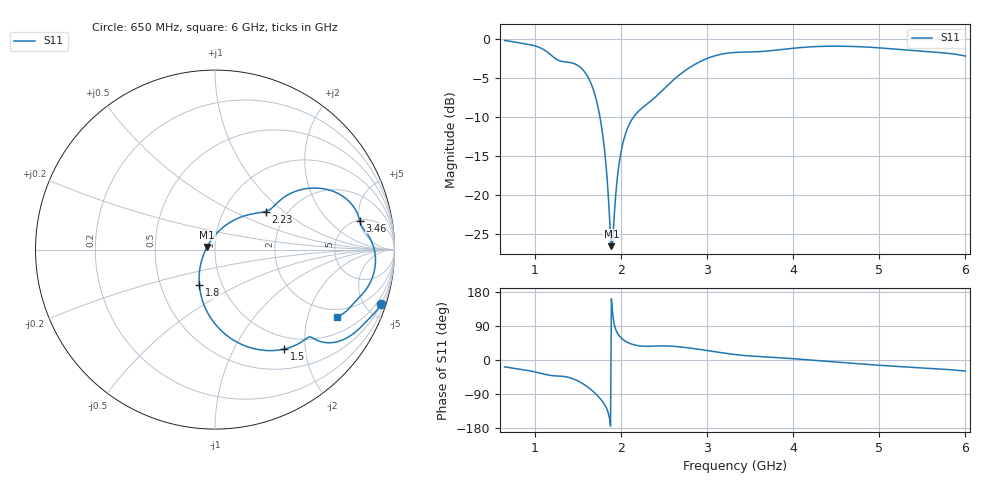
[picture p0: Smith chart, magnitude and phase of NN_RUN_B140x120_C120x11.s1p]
! IGNION VIRTUAL ANTENNA LIBRARY
! NN_RUN_B140x120_C120x11
! Virtual Antenna™ RUN mXTEND™: NN02-224 12.0 mm x 3.0 mm x 2.4 mm
! https://ignion.io/product/run-mxtend/
! Board: 140 mm x 120 mm
! Clearance Area: 120 mm x 11 mm
! Feeding line: L-shape; 11mm x 2mm and 5mm x 2mm
! Applications: Smart meter, Routers/Repeaters
! Frequency range 0.65GHz to 6GHz, step 10MHz
! Number of ports 1
! This product and its use is protected by at least one or more of the following patents and patent
! applications US 8,203,492 B2; US 8,237,615 B2; PCT/EP2013/064692; WO 2014/012842 A1; US 2019/190122 A1;
! US 62/072,671; and other domestic and international patents pending. Additional information about
! patents related to this product is available at https://ignion.io/files/Patent-list-NN.pdf, all
! rights reserved. Copyright, Ignion 2021.
! Need more help? Your platform is much different than these examples in the manual? Use our
! Fast Track service (https://ignion.io/fast-track/), for free, and get a personalized antenna design in
! just 24 hours.
! Touchstone port 1 = "Series Port"
! IE3D S-Parameters Output Version 2.0
# GHZ S MA R 50
! Nport = 1
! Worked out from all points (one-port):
!   536 points, 650 MHz to 6 GHz, reference 50 ohm
!   lowest |S11| = -26.6 dB at 1.89 GHz (marker M1), VSWR 1.10, Z = 45.7 + j1.37 ohm
!   |S11| at or under -10 dB: 1.757 GHz to 2.149 GHz (392.8 MHz wide, 20.1 % of centre)
!   S11 on the Smith chart (normalised r, x): 650 MHz: 0.49, -6.24; 1.5 GHz: 0.79, -1.62; 1.8 GHz: 0.78, -0.33; 2.23 GHz: 1.56, +0.76; 3.46 GHz: 5.10, +5.08; 6 GHz: 1.63, -3.07
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0.65  0.976 -18.1
0.94  0.9174 -28.5
1.1  0.8556 -36.8
1.22  0.7615 -41.6
1.32  0.7157 -42.9
1.42  0.7029 -47.7
1.5  0.675 -55.2
1.6  0.591 -68.8
1.68  0.4723 -83.4
1.75  0.3309 -99.3
1.8  0.2171 -113.7
1.83  0.149 -125.4
1.87  0.06866 -157.2
1.89  0.04678 161.3
1.91  0.05625 112.8
1.95  0.1147 75.1
1.99  0.1727 61.3
2.03  0.2214 53.1
2.08  0.2692 46.2
2.23  0.3535 36.9
2.66  0.5752 35.2
2.95  0.7271 26.8
3.33  0.818 14.3
3.46  0.8222 11.3
4  0.8703 3.5
4.67  0.894 -8.5
5.34  0.8443 -18.6
6  0.7752 -29.0
